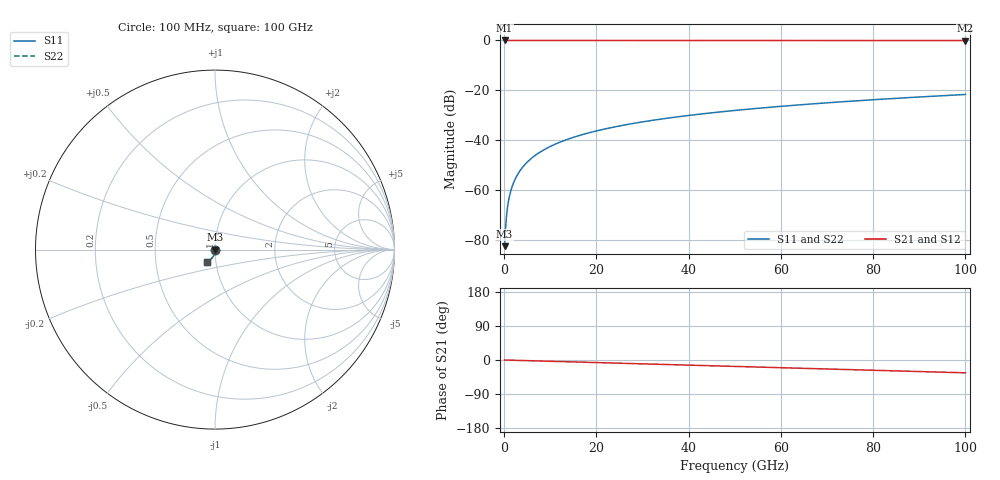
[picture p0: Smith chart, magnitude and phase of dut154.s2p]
! Touchstone file exported from HFSS 2026.1.0
!  File:  C:/ffzhzh/LocalFiles/Ansys_Project_Files/temp_train_TSV_154_1783506674_9504.aedt
!  Generated:  06:32:25 PM Jul  8, 2026
!  Design:  TSV
!  Project:  temp_train_TSV_154_1783506674_9504
! Variables:
!  h_bsmrdl = 2um
!  h_ox = 20um
!  h_rdl = 5um
!  h_sub = 64.41um
!  h_tmrdl = 5um
!  h_tsv = 64.41um
!  h_via = 3um
!  l_bsmrdl = 300um
!  l_sub = 429.68um
!  l_tmrdl = 200um
!  m_sub = 200um
!  pitch = 51.89um
!  r_tsv = 14.84um
!  s_tmrdl = 10um
!  w_bsmrdl = 18um
!  w_sub = 500um
!  w_tmrdl = 12um
!  x_tsv_center1 = 206um
!  x_tsv_center2 = 524um
!  x_tsv_center3 = 736um
!  x_tsv_center4 = 1054um
!  x_tsv_center5 = 1266um
!  x_tsv_center6 = 1584um
# GHz S MA R 50.000000
! Terminal data exported
! Port[1] = TSV1_1_T1
! Port[2] = TSV1_1_T2
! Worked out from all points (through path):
!   1000 points, 100 MHz to 100 GHz, reference 50 ohm
!   highest |S21| = 0.00 dB at 100 MHz (marker M1); lowest = 0.0 dB at 100 GHz (marker M2)
!   group delay of S21, straight-line fit = 939 fs
!   lowest |S11| = -82.3 dB at 100 MHz (marker M3), VSWR 1.00, Z = 50 - j0.00431 ohm
!   |S11| at or under -10 dB: start of sweep to end of sweep
!   |S22| runs from -82.3 to -21.6 dB; largest |S21 - S12| = 2.7e-15
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0.1  7.636e-05 -34.4  0.9999 -0.0  0.9999 -0.0  7.636e-05 -34.4
! Gamma 0 0 0 0
! Port Impedance 50 0 50 0
0.4  0.000233 -61.7  0.9999 -0.1  0.9999 -0.1  0.000233 -61.7
0.8  0.0005098 -70.9  0.9998 -0.3  0.9998 -0.3  0.0005098 -70.9
0.9  0.0005817 -72.4  0.9998 -0.3  0.9998 -0.3  0.0005817 -72.4
1.2  0.0007992 -75.5  0.9998 -0.4  0.9998 -0.4  0.0007992 -75.5
1.5  0.001018 -77.6  0.9998 -0.5  0.9998 -0.5  0.001018 -77.6
2  0.001386 -79.9  0.9997 -0.7  0.9997 -0.7  0.001386 -79.9
2.5  0.001758 -81.3  0.9997 -0.9  0.9997 -0.9  0.001758 -81.3
3.2  0.002286 -82.8  0.9997 -1.1  0.9997 -1.1  0.002286 -82.8
4  0.002897 -84.0  0.9996 -1.4  0.9996 -1.4  0.002897 -84.0
5  0.003666 -85.2  0.9996 -1.7  0.9996 -1.7  0.003666 -85.2
6.1  0.004517 -86.3  0.9995 -2.1  0.9995 -2.1  0.004517 -86.2
8.9  0.006697 -88.3  0.9994 -3.0  0.9994 -3.0  0.006697 -88.3
12.4  0.009448 -90.2  0.9993 -4.2  0.9993 -4.2  0.009448 -90.2
16.8  0.01293 -92.3  0.9991 -5.7  0.9991 -5.7  0.01293 -92.3
24.1  0.01874 -95.3  0.9989 -8.1  0.9989 -8.1  0.01874 -95.3
33.4  0.02621 -98.9  0.9985 -11.3  0.9985 -11.3  0.02621 -98.9
41.2  0.03253 -101.8  0.9982 -13.9  0.9982 -13.9  0.03253 -101.8
50.1  0.03982 -105.0  0.9978 -16.9  0.9978 -16.9  0.03982 -105.0
66.7  0.05368 -111.0  0.9969 -22.5  0.9969 -22.5  0.05368 -110.9
83.4  0.06806 -116.9  0.9958 -28.2  0.9958 -28.2  0.06806 -116.9
100  0.08293 -122.8  0.9943 -33.9  0.9943 -33.9  0.08293 -122.8
